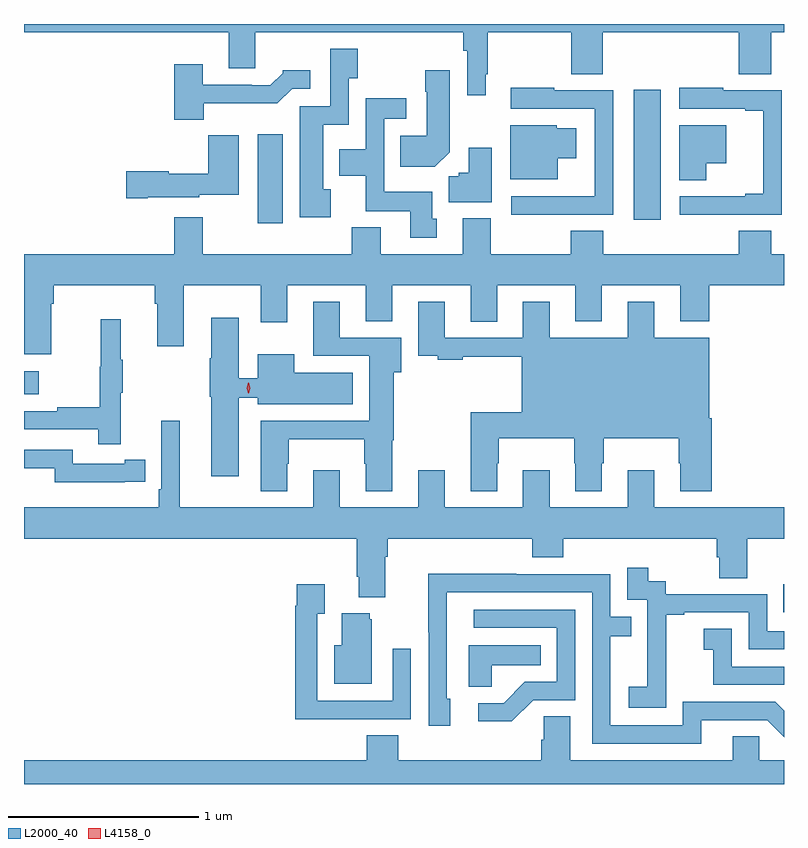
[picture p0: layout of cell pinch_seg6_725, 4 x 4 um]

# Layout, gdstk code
import gdstk
lib = gdstk.Library(unit=1e-6, precision=1e-09)
def R(c, l, rs):  # rectangles x0, y0, x1, y1
    for r in rs: c.add(gdstk.rectangle(r[:2], r[2:], *l))
def P(c, l, *ps):  # polygons
    for p in ps: c.add(gdstk.Polygon(p, *l))
L2000_40 = (2000, 40)
L4158_0 = (4158, 0)

pinch_seg6_725 = lib.new_cell('pinch_seg6_725')
R(pinch_seg6_725, L2000_40, [(542.419,940.287,542.423,940.435), (538.423,941.435,538.501,941.557), (539.654,942.336,539.785,942.805), (541.631,942.354,541.774,943.039)])
P(pinch_seg6_725, L2000_40, [(540.853,943.12),(540.865,943.12),(540.865,943.34),(541.303,943.34),(541.303,943.12),(541.469,943.12),(541.469,943.34),(542.186,943.34),(542.186,943.12),(542.357,943.12),(542.357,943.34),(542.423,943.34),(542.423,943.384),(538.423,943.384),(538.423,943.34),(539.501,943.34),(539.501,943.15),(539.641,943.15),(539.641,943.34),(540.736,943.34),(540.736,943.244),(540.756,943.244),(540.756,943.008),(540.853,943.008)],
  [(540.037,942.515),(539.998,942.515),(539.998,942.854),(540.132,942.854),(540.132,943.099),(540.18,943.099),(540.18,943.255),(540.036,943.255),(540.036,942.951),(539.873,942.951),(539.873,942.368),(540.037,942.368)],
  [(539.368,942.966),(539.757,942.966),(539.835,943.044),(539.929,943.044),(539.929,943.141),(539.784,943.141),(539.784,943.126),(539.72,943.062),(539.621,943.062),(539.621,943.065),(539.365,943.065),(539.365,943.171),(539.213,943.171),(539.213,942.881),(539.368,942.881)],
  [(540.664,942.71),(540.664,943.141),(540.535,943.141),(540.535,943.028),(540.542,943.028),(540.542,942.796),(540.403,942.796),(540.403,942.632),(540.586,942.632)],
  [(542.102,942.381),(542.412,942.381),(542.412,943.035),(542.102,943.035),(542.102,943.048),(541.872,943.048),(541.872,942.939),(542.219,942.939),(542.219,942.927),(542.315,942.927),(542.315,942.49),(542.219,942.49),(542.219,942.477),(541.875,942.477),(541.875,942.38),(542.102,942.38)],
  [(541.211,942.381),(541.524,942.381),(541.524,943.035),(541.214,943.035),(541.214,943.048),(540.984,943.048),(540.984,942.939),(541.428,942.939),(541.428,942.479),(541.427,942.479),(541.427,942.477),(540.987,942.477),(540.987,942.38),(541.211,942.38)],
  [(540.595,942.36),(540.571,942.36),(540.571,942.502),(540.318,942.502),(540.318,942.885),(540.436,942.885),(540.436,942.994),(540.222,942.994),(540.222,942.724),(540.083,942.724),(540.083,942.585),(540.221,942.585),(540.221,942.398),(540.455,942.398),(540.455,942.258),(540.595,942.258)],
  [(542.013,942.65),(542.119,942.65),(542.119,942.85),(541.871,942.85),(541.871,942.562),(542.013,942.562)],
  [(541.231,942.677),(541.33,942.677),(541.33,942.835),(541.227,942.835),(541.227,942.85),(540.983,942.85),(540.983,942.566),(541.231,942.566)],
  [(539.074,942.473),(539.346,942.473),(539.346,942.485),(539.554,942.485),(539.554,942.799),(539.392,942.799),(539.392,942.595),(539.184,942.595),(539.184,942.608),(538.962,942.608),(538.962,942.466),(539.074,942.466)],
  [(540.886,942.733),(540.764,942.733),(540.764,942.602),(540.711,942.602),(540.711,942.584),(540.659,942.584),(540.659,942.446),(540.886,942.446)],
  [(538.567,941.912),(538.58,941.912),(538.58,942.008),(539.111,942.008),(539.111,941.912),(539.123,941.912),(539.123,941.688),(539.263,941.688),(539.263,942.008),(539.669,942.008),(539.669,941.814),(539.809,941.814),(539.809,942.008),(540.221,942.008),(540.221,941.819),(540.361,941.819),(540.361,942.008),(540.773,942.008),(540.773,941.818),(540.913,941.818),(540.913,942.008),(541.325,942.008),(541.325,941.819),(541.465,941.819),(541.465,942.008),(541.877,942.008),(541.877,941.819),(542.03,941.819),(542.03,942.008),(542.423,942.008),(542.423,942.172),(542.357,942.172),(542.357,942.296),(542.186,942.296),(542.186,942.172),(541.472,942.172),(541.472,942.296),(541.3,942.296),(541.3,942.172),(540.879,942.172),(540.879,942.361),(540.731,942.361),(540.731,942.172),(540.301,942.172),(540.301,942.313),(540.149,942.313),(540.149,942.172),(539.365,942.172),(539.365,942.367),(539.213,942.367),(539.213,942.172),(538.423,942.172),(538.423,941.646),(538.567,941.646)],
  [(540.913,941.073),(540.921,941.073),(540.921,941.204),(541.318,941.204),(541.318,941.073),(541.325,941.073),(541.325,940.926),(541.465,940.926),(541.465,941.073),(541.473,941.073),(541.473,941.204),(541.87,941.204),(541.87,941.073),(541.877,941.073),(541.877,940.926),(542.042,940.926),(542.042,941.308),(542.029,941.308),(542.029,941.734),(541.741,941.734),(541.741,941.923),(541.601,941.923),(541.601,941.734),(541.189,941.734),(541.189,941.923),(541.049,941.923),(541.049,941.733),(540.637,941.733),(540.637,941.923),(540.497,941.923),(540.497,941.637),(540.601,941.637),(540.601,941.617),(540.733,941.617),(540.733,941.632),(541.043,941.632),(541.043,941.341),(540.773,941.341),(540.773,940.926),(540.913,940.926)],
  [(539.809,941.07),(539.817,941.07),(539.817,941.198),(540.214,941.198),(540.214,941.07),(540.221,941.07),(540.221,940.926),(540.361,940.926),(540.361,941.192),(540.369,941.192),(540.369,941.552),(540.409,941.552),(540.409,941.733),(540.085,941.733),(540.085,941.923),(539.945,941.923),(539.945,941.637),(540.239,941.637),(540.239,941.295),(539.669,941.295),(539.669,940.926),(539.809,940.926)],
  [(539.554,941.418),(539.654,941.418),(539.654,941.384),(540.154,941.384),(540.154,941.548),(539.845,941.548),(539.845,941.647),(539.654,941.647),(539.654,941.519),(539.554,941.519),(539.554,941.839),(539.408,941.839),(539.408,941.626),(539.401,941.626),(539.401,941.421),(539.408,941.421),(539.408,941.004),(539.554,941.004)],
  [(538.931,941.443),(538.942,941.443),(538.942,941.617),(538.931,941.617),(538.931,941.83),(538.828,941.83),(538.828,941.58),(538.821,941.58),(538.821,941.366),(538.597,941.366),(538.597,941.346),(538.423,941.346),(538.423,941.25),(538.813,941.25),(538.813,941.172),(538.931,941.172)],
  [(540.325,940.58),(540.338,940.58),(540.338,940.676),(541.097,940.676),(541.097,940.577),(541.262,940.577),(541.262,940.676),(542.069,940.676),(542.069,940.578),(542.081,940.578),(542.081,940.468),(542.229,940.468),(542.229,940.676),(542.423,940.676),(542.423,940.84),(541.741,940.84),(541.741,941.035),(541.601,941.035),(541.601,940.84),(541.189,940.84),(541.189,941.035),(541.049,941.035),(541.049,940.84),(540.637,940.84),(540.637,941.035),(540.497,941.035),(540.497,940.84),(540.085,940.84),(540.085,941.035),(539.945,941.035),(539.945,940.84),(539.242,940.84),(539.242,941.296),(539.145,941.296),(539.145,940.936),(539.132,940.936),(539.132,940.84),(538.423,940.84),(538.423,940.676),(540.173,940.676),(540.173,940.474),(540.185,940.474),(540.185,940.367),(540.325,940.367)],
  [(538.952,940.974),(539.06,940.974),(539.06,941.09),(538.952,941.09),(538.952,941.07),(538.68,941.07),(538.68,941.142),(538.423,941.142),(538.423,941.046),(538.584,941.046),(538.584,940.973),(538.952,940.973)],
  [(541.803,939.991),(541.802,939.991),(541.802,940.275),(541.897,940.275),(541.897,940.287),(542.238,940.287),(542.238,940.092),(542.423,940.092),(542.423,940.188),(542.334,940.188),(542.334,940.383),(541.8,940.383),(541.8,940.452),(541.708,940.452),(541.708,940.522),(541.599,940.522),(541.599,940.353),(541.704,940.353),(541.704,940.124),(541.703,940.124),(541.703,939.895),(541.605,939.895),(541.605,939.785),(541.803,939.785)],
  [(541.987,939.72),(542.334,939.72),(542.423,939.631),(542.423,939.769),(542.376,939.816),(541.89,939.816),(541.89,939.693),(541.509,939.693),(541.509,940.162),(541.619,940.162),(541.619,940.263),(541.509,940.263),(541.509,940.488),(541.013,940.488),(541.013,940.49),(540.55,940.49),(540.55,940.183),(540.552,940.183),(540.552,939.69),(540.667,939.69),(540.667,939.834),(540.648,939.834),(540.648,940.392),(541.413,940.392),(541.413,939.597),(541.987,939.597)],
  [(540.143,939.726),(540.459,939.726),(540.459,940.096),(540.363,940.096),(540.363,939.822),(539.967,939.822),(539.967,940.279),(540.007,940.279),(540.007,940.435),(539.859,940.435),(539.859,940.322),(539.851,940.322),(539.851,939.725),(540.143,939.725)],
  [(541.104,939.825),(541.323,939.825),(541.323,940.302),(540.789,940.302),(540.789,940.206),(541.227,940.206),(541.227,939.921),(541.058,939.921),(540.947,939.81),(540.813,939.81),(540.813,939.713),(540.991,939.713)],
  [(540.253,940.251),(540.242,940.251),(540.242,940.282),(540.095,940.282),(540.095,940.114),(540.056,940.114),(540.056,939.911),(540.253,939.911)],
  [(542.423,940.002),(542.148,940.002),(542.148,940.201),(542.001,940.201),(542.001,940.091),(542.05,940.091),(542.05,939.906),(542.423,939.906)],
  [(540.885,940.01),(541.142,940.01),(541.142,940.114),(540.764,940.114),(540.764,939.895),(540.885,939.895)],
  [(542.423,939.508),(542.292,939.508),(542.292,939.635),(542.153,939.635),(542.153,939.508),(541.297,939.508),(541.297,939.74),(541.158,939.74),(541.158,939.617),(541.145,939.617),(541.145,939.508),(540.392,939.508),(540.392,939.641),(540.227,939.641),(540.227,939.508),(538.423,939.508),(538.423,939.384),(542.423,939.384)])
P(pinch_seg6_725, L4158_0, [(539.604,941.44),(539.595,941.468),(539.604,941.495),(539.605,941.495),(539.605,941.495),(539.615,941.468),(539.605,941.44),(539.605,941.44)])

lib.write_gds('pinch_seg6_725.gds')
